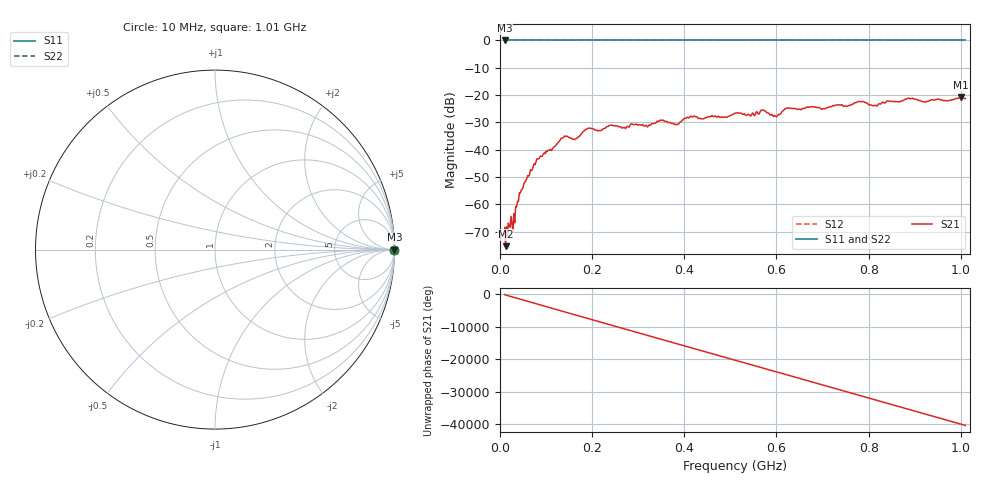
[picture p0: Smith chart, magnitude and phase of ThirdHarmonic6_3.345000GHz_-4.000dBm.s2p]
! 8/17/2025 10:32:31 AM
! C:\ANRITSUVNA\TEMP\TEMP.S2P
! CHANNEL.1
! TR.MEASUREMENT
! RAW.DATA
! RF.CORRECTION.OFF
! AVERAGING.OFF
! IF.BANDWIDTH: 5KHZ
! SWEEPTYPE:  FREQ.SWEEP(Linear)
! Reference Plane Port Info
! PORT:  PORT1  PORT2
! DISTANCE:  0  m  0  m
! TIME:  0  s  0  s
! PHASE.OFFSET:  0  deg.  0  deg.
! LOSS:  0  dB  0  dB
! REF.LOSS:  0  dB  0  dB
! REF.FREQ:  0  Hz  0  Hz
! Power Info
! POWER:  -20  dBm  -20  dBm
! EFF.POWER:  -20  dBm  -20  dBm
! SOURCE.ATTEN:  0  dB  0  dB
! TEST.ATTEN:  0  dB  0  dB
# GHZ S RI R 50.0
! FREQ.GHZ  S11RE  S11IM  S21RE  S21IM  S12RE  S12IM  S22RE  S22IM
!; PortSelection: Port_12
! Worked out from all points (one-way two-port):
!   501 points, 10 MHz to 1.01 GHz, reference 50 ohm
!   highest |S21| = -20.65 dB at 1 GHz (marker M1); lowest = -75.3 dB at 12 MHz (marker M2)
!   lowest |S11| = 0.0 dB at 10 MHz (marker M3)
!   |S11| at or under -10 dB: nowhere
!   |S22| runs from 0.0 to 0.0 dB; largest |S21 - S12| = 1.1
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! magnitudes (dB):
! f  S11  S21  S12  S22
! 10 MHz  0.0  -68.5  0.0  0.0
! 12 MHz  0.0  -75.3  0.0  0.0
! 30 MHz  0.0  -63.4  0.0  0.0
! 46 MHz  0.0  -54.8  0.0  0.0
! 82 MHz  0.0  -43.4  0.0  0.0
! 136 MHz  0.0  -35.7  0.0  0.0
! 162 MHz  0.0  -36.3  0.0  0.0
! 178 MHz  0.0  -33.9  0.0  0.0
! 194 MHz  0.0  -32.1  0.0  0.0
! 318 MHz  0.0  -31.3  0.0  0.0
! 344 MHz  0.0  -29.7  0.0  0.0
! 384 MHz  0.0  -30.7  0.0  0.0
! 416 MHz  0.0  -28.0  0.0  0.0
! 510 MHz  0.0  -26.7  0.0  0.0
! 570 MHz  0.0  -25.4  0.0  0.0
! 598 MHz  0.0  -27.7  0.0  0.0
! 622 MHz  0.0  -24.8  0.0  0.0
! 678 MHz  0.0  -24.2  0.0  0.0
! 814 MHz  0.0  -23.7  0.0  0.0
! 844 MHz  0.0  -22.2  0.0  0.0
! 1 GHz  0.0  -20.7  0.0  0.0
! 1.01 GHz  0.0  -21.3  0.0  0.0
